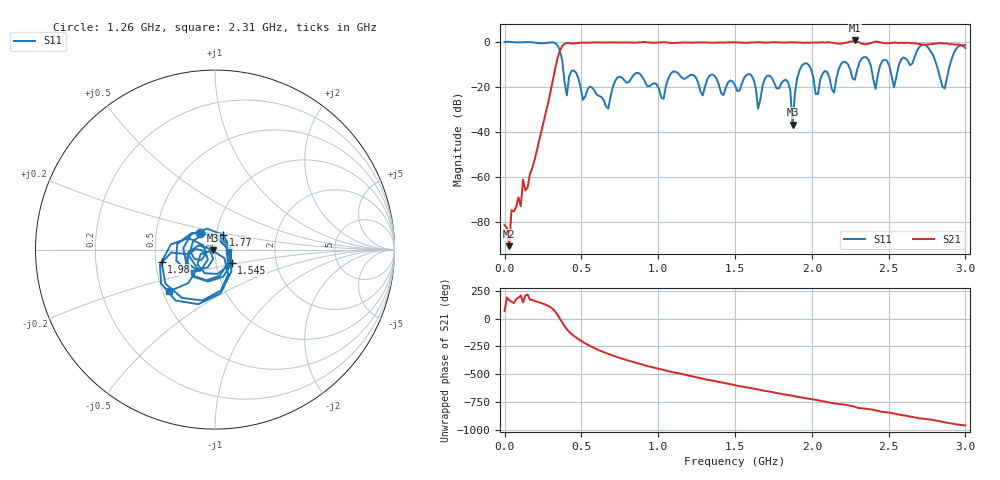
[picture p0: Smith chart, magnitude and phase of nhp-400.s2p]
!File created by NanoVNA-F V2
# Hz S RI R 50
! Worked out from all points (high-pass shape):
!   201 points, 50 kHz to 3 GHz, reference 50 ohm
!   highest |S21| = 0.57 dB at 2.28 GHz (marker M1); lowest = -90.7 dB at 30.05 MHz (marker M2)
!   |S21| within 3 dB of the highest: 371.2 MHz to end of sweep
!   lowest |S11| = -36.7 dB at 1.875 GHz (marker M3), VSWR 1.03, Z = 48.6 - j0.464 ohm
!   |S11| at or under -10 dB: 377.8 MHz to 1.946 GHz (1.568 GHz wide, 135 % of centre); 1.975 GHz to 2.19 GHz (215.2 MHz wide, 10.3 % of centre); 2.811 GHz to 2.901 GHz (89.91 MHz wide, 3.15 % of centre)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
!   S12 and S22 are empty: the file has one direction only
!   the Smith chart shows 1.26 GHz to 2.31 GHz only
!   S11 on the Smith chart (normalised r, x): 1.26 GHz: 0.83, +0.15; 1.545 GHz: 1.19, -0.18; 1.77 GHz: 1.08, +0.18; 1.98 GHz: 0.54, -0.08; 2.31 GHz: 0.54, -0.29
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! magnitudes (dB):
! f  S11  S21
! 50 kHz  -0.1  -81.3
! 30.05 MHz  -0.1  -90.7
! 150 MHz  -0.2  -64.5
! 360 MHz  -3.9  -3.9
! 405 MHz  -23.8  -0.6
! 510 MHz  -25.8  -0.4
! 1.005 GHz  -20.9  -0.3
! 1.26 GHz  -18.1  -0.3
! 1.5 GHz  -19.4  -0.3
! 1.545 GHz  -18.5  -0.4
! 1.77 GHz  -20.6  -0.2
! 1.845 GHz  -17.9  -0.3
! 1.875 GHz  -36.7  -0.2
! 1.905 GHz  -16.2  -0.3
! 1.98 GHz  -10.3  -0.5
! 2.01 GHz  -15.9  -0.4
! 2.28 GHz  -16.9  0.6
! 2.31 GHz  -9.2  -0.3
! 2.505 GHz  -10.8  -0.6
! 2.73 GHz  -1.2  -1.3
! 2.865 GHz  -20.7  -0.8
! 3 GHz  -2.8  -1.4
